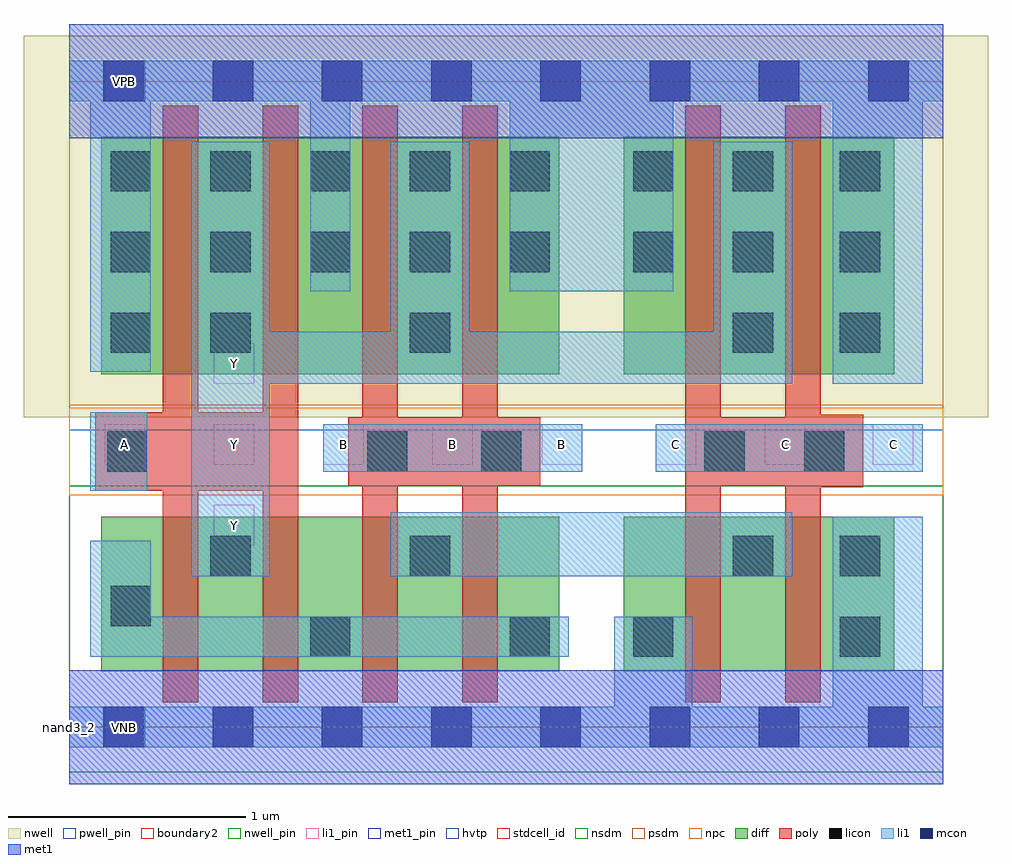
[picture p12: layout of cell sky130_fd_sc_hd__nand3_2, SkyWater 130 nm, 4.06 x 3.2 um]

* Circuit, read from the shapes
.subckt sky130_fd_sc_hd__nand3_2 A B C VGND VNB VPB VPWR Y
XM1 Y A n1 VNB sky130_fd_pr__nfet_01v8 w=0.65 l=0.15 m=2
XM2 n2 B n1 VNB sky130_fd_pr__nfet_01v8 w=0.65 l=0.15 m=2
XM3 n2 C VGND VNB sky130_fd_pr__nfet_01v8 w=0.65 l=0.15 m=2
XM4 Y A VPWR VPB sky130_fd_pr__pfet_01v8_hvt w=1 l=0.15 m=2
XM5 Y B VPWR VPB sky130_fd_pr__pfet_01v8_hvt w=1 l=0.15 m=2
XM6 Y C VPWR VPB sky130_fd_pr__pfet_01v8_hvt w=1 l=0.15 m=2
.ends

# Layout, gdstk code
import gdstk
lib = gdstk.Library(unit=1e-6, precision=1e-09)
def R(c, l, rs):  # rectangles x0, y0, x1, y1
    for r in rs: c.add(gdstk.rectangle(r[:2], r[2:], *l))
def A(c, l, x, y, w, h, nx, ny, dx, dy):  # array of equal rectangles
    R(c, l, [(x+i*dx, y+j*dy, x+i*dx+w, y+j*dy+h) for i in range(nx) for j in range(ny)])
def P(c, l, *ps):  # polygons
    for p in ps: c.add(gdstk.Polygon(p, *l))
nwell_pin = (64, 16)
nwell = (64, 20)
diff = (65, 20)
poly = (66, 20)
licon = (66, 44)
li1_pin = (67, 16)
li1 = (67, 20)
mcon = (67, 44)
met1_pin = (68, 16)
met1 = (68, 20)
hvtp = (78, 44)
stdcell_id = (81, 4)
nsdm = (93, 44)
psdm = (94, 20)
npc = (95, 20)
pwell_pin = (122, 16)
boundary2 = (236, 0)

sky130_fd_sc_hd__nand3_2 = lib.new_cell('sky130_fd_sc_hd__nand3_2')
R(sky130_fd_sc_hd__nand3_2, nwell_pin, [(0.15,2.635,0.32,2.805)])
R(sky130_fd_sc_hd__nand3_2, nwell, [(-0.19,1.305,3.87,2.91)])
R(sky130_fd_sc_hd__nand3_2, diff, [(0.135,0.235,2.065,0.885), (2.335,0.235,3.475,0.885), (0.135,1.485,2.065,2.485), (2.335,1.485,3.475,2.485)])
P(sky130_fd_sc_hd__nand3_2, poly, [(0.965,2.615),(0.815,2.615),(0.815,1.325),(0.545,1.325),(0.545,2.615),(0.395,2.615),(0.395,1.325),(0.11,1.325),(0.11,0.995),(0.395,0.995),(0.395,0.105),(0.545,0.105),(0.545,0.995),(0.815,0.995),(0.815,0.105),(0.965,0.105)],
  [(1.985,1.305),(1.805,1.305),(1.805,2.615),(1.655,2.615),(1.655,1.305),(1.385,1.305),(1.385,2.615),(1.235,2.615),(1.235,1.305),(1.175,1.305),(1.175,1.015),(1.235,1.015),(1.235,0.105),(1.385,0.105),(1.385,1.015),(1.655,1.015),(1.655,0.105),(1.805,0.105),(1.805,1.015),(1.985,1.015)],
  [(3.345,1.315),(3.165,1.315),(3.165,2.615),(3.015,2.615),(3.015,1.305),(2.745,1.305),(2.745,2.615),(2.595,2.615),(2.595,0.105),(2.745,0.105),(2.745,1.015),(3.015,1.015),(3.015,0.105),(3.165,0.105),(3.165,1.01),(3.345,1.01)])
A(sky130_fd_sc_hd__nand3_2, licon, 2.795, 1.575, 0.17, 0.17, 1, 3, 0, 0.34)
A(sky130_fd_sc_hd__nand3_2, licon, 3.245, 1.575, 0.17, 0.17, 1, 3, 0, 0.34)
A(sky130_fd_sc_hd__nand3_2, licon, 0.175, 1.915, 0.17, 0.17, 5, 2, 0.42, 0.34)
R(sky130_fd_sc_hd__nand3_2, licon, [(1.015,0.295,1.185,0.465), (1.855,0.295,2.025,0.465), (2.375,0.295,2.545,0.465), (3.245,0.295,3.415,0.465), (0.175,0.425,0.345,0.595), (0.595,0.635,0.765,0.805), (1.435,0.635,1.605,0.805), (2.795,0.635,2.965,0.805), (3.245,0.635,3.415,0.805), (0.16,1.075,0.33,1.245), (1.255,1.075,1.425,1.245), (1.735,1.075,1.905,1.245), (2.675,1.075,2.845,1.245), (3.095,1.075,3.265,1.245), (0.175,1.575,0.345,1.745), (0.595,1.575,0.765,1.745), (1.435,1.575,1.605,1.745), (2.375,1.915,2.545,2.085), (2.375,2.255,2.545,2.425)])
A(sky130_fd_sc_hd__nand3_2, li1_pin, 0.15, 1.105, 0.17, 0.17, 5, 1, 0.46, 0)
R(sky130_fd_sc_hd__nand3_2, li1_pin, [(0.61,0.765,0.78,0.935), (2.47,1.105,2.64,1.275), (2.93,1.105,3.1,1.275), (3.385,1.105,3.555,1.275), (0.61,1.445,0.78,1.615)])
R(sky130_fd_sc_hd__nand3_2, li1, [(1.355,0.635,3.045,0.905), (0.09,0.995,0.33,1.325), (1.07,1.075,2.16,1.275), (2.47,1.075,3.595,1.275)])
P(sky130_fd_sc_hd__nand3_2, li1, [(3.68,0.085),(3.595,0.085),(3.595,0.885),(3.215,0.885),(3.215,0.085),(2.625,0.085),(2.625,0.465),(2.295,0.465),(2.295,0.085),(0,0.085),(0,-0.085),(3.68,-0.085)],
  [(3.68,2.805),(0,2.805),(0,2.635),(0.09,2.635),(0.09,1.495),(0.345,1.495),(0.345,2.635),(1.015,2.635),(1.015,1.835),(1.185,1.835),(1.185,2.635),(1.855,2.635),(1.855,1.835),(2.545,1.835),(2.545,2.635),(3.215,2.635),(3.215,1.445),(3.595,1.445),(3.595,2.635),(3.68,2.635)],
  [(2.105,0.465),(0.345,0.465),(0.345,0.785),(0.09,0.785),(0.09,0.295),(2.105,0.295)],
  [(3.045,2.465),(2.715,2.465),(2.715,1.665),(1.685,1.665),(1.685,2.465),(1.355,2.465),(1.355,1.665),(0.845,1.665),(0.845,2.465),(0.515,2.465),(0.515,0.635),(0.845,0.635),(0.845,1.445),(3.045,1.445)])
A(sky130_fd_sc_hd__nand3_2, mcon, 0.145, -0.085, 0.17, 0.17, 8, 2, 0.46, 2.72)
R(sky130_fd_sc_hd__nand3_2, met1_pin, [(0.15,-0.085,0.32,0.085), (0.15,2.635,0.32,2.805)])
R(sky130_fd_sc_hd__nand3_2, hvtp, [(0,1.25,3.68,2.72)])
R(sky130_fd_sc_hd__nand3_2, stdcell_id, [(0,0,3.68,2.72)])
R(sky130_fd_sc_hd__nand3_2, nsdm, [(0,-0.19,3.68,1.015)])
R(sky130_fd_sc_hd__nand3_2, psdm, [(0,1.355,3.68,2.91)])
R(sky130_fd_sc_hd__nand3_2, npc, [(0,0.975,3.68,1.345)])
R(sky130_fd_sc_hd__nand3_2, pwell_pin, [(0.15,-0.085,0.32,0.085)])
R(sky130_fd_sc_hd__nand3_2, boundary2, [(0,0,3.68,2.72)])
sky130_fd_sc_hd__nand3_2.add(gdstk.FlexPath([(0,0),(3.68,0)], 0.48, ends="flush", simple_path=True, layer=68, datatype=20))  # met1
sky130_fd_sc_hd__nand3_2.add(gdstk.FlexPath([(0,2.72),(3.68,2.72)], 0.48, ends="flush", simple_path=True, layer=68, datatype=20))  # met1
sky130_fd_sc_hd__nand3_2.add(gdstk.Label('A', (0.235,1.19), layer=67, texttype=5))
sky130_fd_sc_hd__nand3_2.add(gdstk.Label('Y', (0.695,0.85), layer=67, texttype=5))
sky130_fd_sc_hd__nand3_2.add(gdstk.Label('Y', (0.695,1.19), layer=67, texttype=5))
sky130_fd_sc_hd__nand3_2.add(gdstk.Label('Y', (0.695,1.53), layer=67, texttype=5))
sky130_fd_sc_hd__nand3_2.add(gdstk.Label('B', (1.155,1.19), layer=67, texttype=5))
sky130_fd_sc_hd__nand3_2.add(gdstk.Label('B', (1.615,1.19), layer=67, texttype=5))
sky130_fd_sc_hd__nand3_2.add(gdstk.Label('B', (2.075,1.19), layer=67, texttype=5))
sky130_fd_sc_hd__nand3_2.add(gdstk.Label('C', (3.47,1.19), layer=67, texttype=5))
sky130_fd_sc_hd__nand3_2.add(gdstk.Label('C', (3.015,1.19), layer=67, texttype=5))
sky130_fd_sc_hd__nand3_2.add(gdstk.Label('C', (2.555,1.19), layer=67, texttype=5))
sky130_fd_sc_hd__nand3_2.add(gdstk.Label('VNB', (0.235,0), layer=64, texttype=59))
sky130_fd_sc_hd__nand3_2.add(gdstk.Label('VPB', (0.235,2.72), layer=64, texttype=5))
sky130_fd_sc_hd__nand3_2.add(gdstk.Label('VGND', (0.23,0), layer=68, texttype=5))
sky130_fd_sc_hd__nand3_2.add(gdstk.Label('VPWR', (0.23,2.72), layer=68, texttype=5))
sky130_fd_sc_hd__nand3_2.add(gdstk.Label('nand3_2', (0,0), layer=83, texttype=44))

lib.write_gds('sky130_fd_sc_hd__nand3_2.gds')
